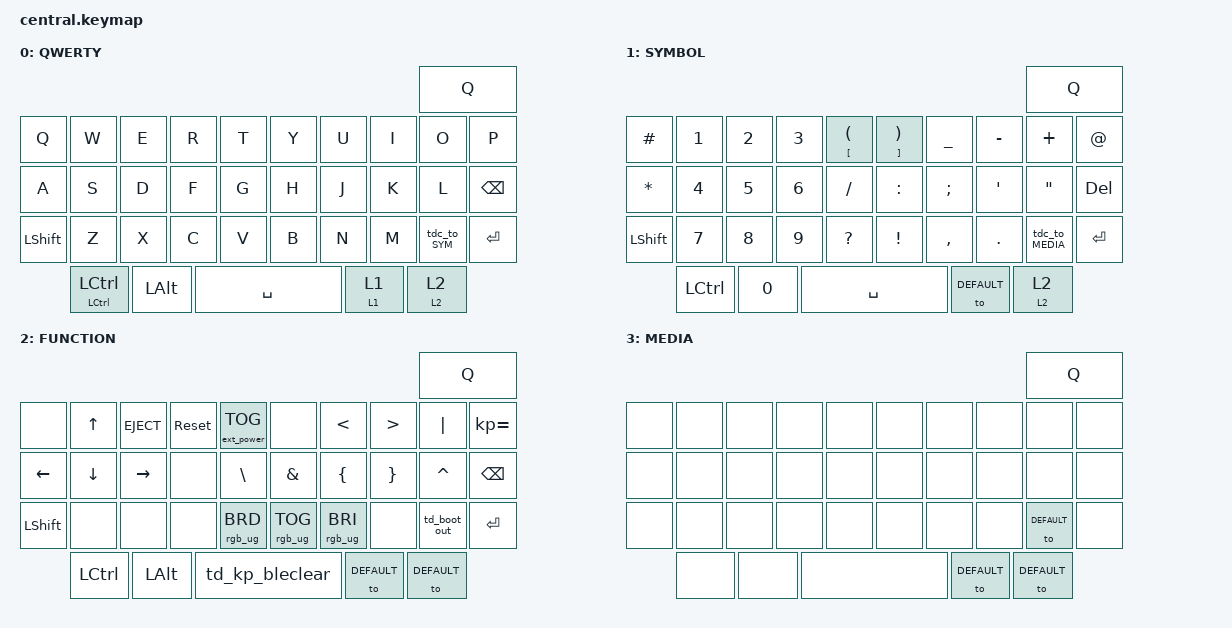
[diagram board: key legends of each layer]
/*
 * Copyright (c) 2023 ZitaoTech
 *
 * SPDX-License-Identifier: MIT
 */
   
#include <behaviors.dtsi>
#include <dt-bindings/zmk/keys.h>
#include <dt-bindings/zmk/bt.h>
#include <dt-bindings/zmk/outputs.h>
#include <dt-bindings/zmk/mouse.h>
#include <dt-bindings/zmk/backlight.h>
#include <dt-bindings/zmk/ext_power.h>
#include <dt-bindings/zmk/rgb.h>

#define DEFAULT 0
#define SYM 1
#define UPPER 2
#define MEDIA 3

#define SL_MO(layer) &sl_mo layer layer //tap -> sticky layer, hold -> momentary layer


&sl {
    release-after-ms = <3000>;
    };
/ {
    behaviors {
        td0: tap_dance_0 {
            compatible = "zmk,behavior-tap-dance";
            #binding-cells = <0>;
            tapping-term-ms = <400>;
            bindings = <&mkp LCLK>, <&bt BT_CLR>;
        };
    };

    behaviors {
        td_boot_out: td_boot_out {
            compatible = "zmk,behavior-tap-dance";
            #binding-cells = <0>;
            tapping-term-ms = <400>;            
            bindings = <&bootloader>, <&out OUT_TOG>;
            // Tap → &bootloader
            // Double tap → &out OUT_TOG
        };
    };

        behaviors {
        tdc_to_SYM: td_comma_to_layer {
            compatible = "zmk,behavior-tap-dance";
            #binding-cells = <0>;
            tapping-term-ms = <400>;
            bindings = <&kp SEMI>, <&to SYM>;
            // Tap → &kp SEMI
            // Double tap → &to SYM
        };
    };

    behaviors {
        tdc_to_MEDIA: td_mute_to_layer {
            compatible = "zmk,behavior-tap-dance";
            #binding-cells = <0>;
            tapping-term-ms = <400>;
            bindings = <&kp C_MUTE>, <&to MEDIA>;
            // Tap → &kp C_MUTE
            // Double tap → &to MEDIA
        };
    };

    behaviors {
        td_kp_bleclear: td_kp_bleclear {
            compatible = "zmk,behavior-tap-dance";
            #binding-cells = <0>;
            tapping-term-ms = <400>;            
            bindings = <&kp SPACE>, <&bt BT_CLR>;
            // Tap → &kp space
            // Double tap → &bt BT_CLEAR
        };
    };

    behaviors {
        hm: homerow_mods {
            compatible = "zmk,behavior-hold-tap";
            #binding-cells = <2>;
            tapping-term-ms = <400>;
            bindings = <&kp &kp>;
        };
    };
    
    behaviors {
    sl_mo: behavior_sl_mo {
        compatible = "zmk,behavior-hold-tap";
        #binding-cells = <2>;
        flavor = "hold-preferred";      
        tapping-term-ms = <450>;       
        bindings = <&mo &sl>;       
            // Tap → &sticky layer
            // Double tap → &momentary layer  
        };
    };

    behaviors {
    sk_kp: behavior_sk_kp {
        compatible = "zmk,behavior-hold-tap";
        #binding-cells = <2>;
        flavor = "hold-preferred";      
        tapping-term-ms = <450>;       
        bindings = <&kp &sk>;          /* hold=kp, tap=sticky key */
        };
    };

    keymap {
        compatible = "zmk,keymap";

        default_layer {
        display-name = "QWERTY";
            bindings = <
//         --------------------------------------------------------------------------------------------------------------------------         
//         |    Shoulder Key1    |                                                                             |    Shoulder Key2    |     
// |         Call key      |      Blackberry Key        |    Trackpad    |             Back Key                |             Endcall Key          |
// |     Q      |     W    |     E    |     R    |      T      |       Y        |       U        |        I        |       O      |      P        |     
// |     A      |     S    |     D    |     F    |      G      |       H        |       J        |        K        |       L      |      ←        |  
// |     alt    |     Z    |     X    |     C    |      V      |       B        |       N        |        M        |       $      |    Enter      |   
//        |         aA     |         0           |           SPACE              |         SYM         |        aA          |       
//        -----------------------------------------------------------------------------------------------------------------


                                                                &kp Q          
    &kp Q        &kp W      &kp E       &kp R     &kp T         &kp Y             &kp U            &kp I            &kp O            &kp P
    &kp A        &kp S      &kp D       &kp F     &kp G         &kp H             &kp J            &kp K            &kp L            &kp BSPC
    &kp LSHFT    &kp Z      &kp X       &kp C     &kp V         &kp B             &kp N            &kp M            &tdc_to_SYM      &kp ENTER
    &sk_kp LCTRL LCTRL      &kp LALT                            &kp SPACE                          &sl_mo 1 1                        &sl_mo 2 2
            >;
        };

        sym_layer {
        display-name = "SYMBOL";
            bindings = <
//         --------------------------------------------------------------------------------------------------------------------------         
//         |    Shoulder Key1    |                                                                             |    Shoulder Key2    |     
// |         Call key      |      Blackberry Key        |    Trackpad    |             Back Key                |             Endcall Key          |
// |     Q      |     W    |     E    |     R    |      T      |       Y        |       U        |        I        |       O      |      P        |     
// |     A      |     S    |     D    |     F    |      G      |       H        |       J        |        K        |       L      |      ←        |  
// |     alt    |     Z    |     X    |     C    |      V      |       B        |       N        |        M        |       $      |    Enter      |   
//        |         aA     |         0           |           SPACE              |         SYM         |        aA          |       
//        -----------------------------------------------------------------------------------------------------------------


                                                                &kp Q          
    &kp HASH     &kp N1     &kp N2      &kp N3    &mt LBKT LPAR &mt RBKT RPAR     &kp UNDER        &kp MINUS        &kp PLUS         &kp AT
    &kp STAR     &kp N4     &kp N5      &kp N6    &kp SLASH     &kp COLON         &kp SEMI         &kp APOS         &kp DQT          &kp DEL
    &kp LSHFT    &kp N7     &kp N8      &kp N9    &kp QMARK     &kp EXCL          &kp COMMA        &kp DOT          &tdc_to_MEDIA    &kp ENTER
    &kp LCTRL               &kp N0                              &kp SPACE                          &to DEFAULT                       &sl_mo 2 2
            >;
        };

        upper_layer {
        display-name = "FUNCTION";
            bindings = <
//         --------------------------------------------------------------------------------------------------------------------------         
//         |    Shoulder Key1    |                                                                             |    Shoulder Key2    |     
// |         Call key      |      Blackberry Key        |    Trackpad    |             Back Key                |             Endcall Key          |
// |     Q      |     W    |     E    |     R    |      T      |       Y        |       U        |        I        |       O      |      P        |     
// |     A      |     S    |     D    |     F    |      G      |       H        |       J        |        K        |       L      |      ←        |  
// |     alt    |     Z    |     X    |     C    |      V      |       B        |       N        |        M        |       $      |    Enter      |   
//        |         aA     |         0           |           SPACE              |         SYM         |        aA          |       
//        -----------------------------------------------------------------------------------------------------------------


                                                                &kp Q          
    &none        &kp UP     &kp C_EJECT &sys_reset &ext_power EP_TOG &none            &kp LT           &kp GT          &kp PIPE         &kp KP_EQUAL
    &kp LEFT     &kp DOWN   &kp RIGHT   &none      &kp BSLH          &kp AMPS         &kp LBRC         &kp RBRC        &kp CARET        &kp BSPC
    &kp LSHFT    &none      &none       &none      &rgb_ug RGB_BRD   &rgb_ug RGB_TOG  &rgb_ug RGB_BRI  &none           &td_boot_out     &kp ENTER
    &kp LCTRL               &kp LALT                                 &td_kp_bleclear                   &to DEFAULT                      &to DEFAULT
    
            >;
        };

            media_layer {
            display-name = "MEDIA";
            bindings = <
//         --------------------------------------------------------------------------------------------------------------------------         
//         |    Shoulder Key1    |                                                                             |    Shoulder Key2    |     
// |         Call key      |      Blackberry Key        |    Trackpad    |             Back Key                |             Endcall Key          |
// |     Q      |     W    |     E    |     R    |      T      |       Y        |       U        |        I        |       O      |      P        |     
// |     A      |     S    |     D    |     F    |      G      |       H        |       J        |        K        |       L      |      ←        |  
// |     alt    |     Z    |     X    |     C    |      V      |       B        |       N        |        M        |       $      |    Enter      |   
//        |         aA     |         0           |           SPACE              |         SYM         |        aA          |       
//        -----------------------------------------------------------------------------------------------------------------


                                                                &kp Q          
    &none        &none     &none       &none      &none        &none         &none           &none           &none            &none
    &none        &none     &none       &none      &none        &none         &none           &none           &none            &none
    &none        &none     &none       &none      &none        &none         &none           &none           &to DEFAULT      &none
    &none                  &none                               &none                         &to DEFAULT                      &to DEFAULT
    
            >;
        };
    };
};
